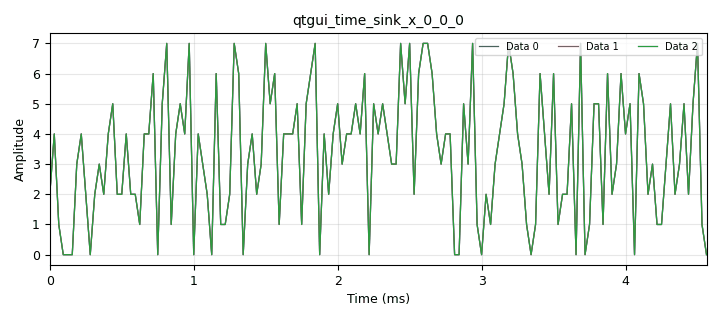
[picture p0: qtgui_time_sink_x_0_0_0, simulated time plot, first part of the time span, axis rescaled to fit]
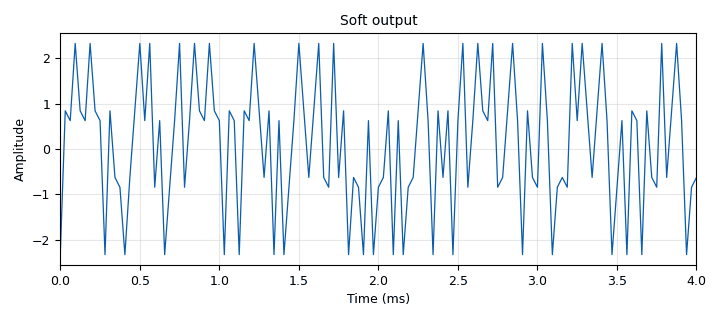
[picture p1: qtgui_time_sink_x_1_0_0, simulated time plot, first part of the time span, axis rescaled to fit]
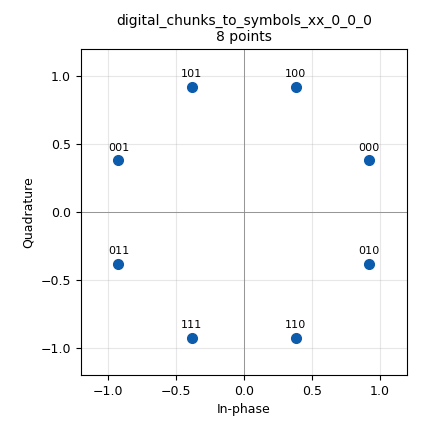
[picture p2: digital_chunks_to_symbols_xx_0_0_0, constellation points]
<?xml version='1.0' encoding='utf-8'?>
<?grc format='1' created='3.7.11'?>
<flow_graph>
<block>
<key>options</key>
<param><key>id</key><value>test_soft_decoder</value></param>
<param><key>generate_options</key><value>qt_gui</value></param>
</block>
<block>
<key>variable_constellation_rect</key>
<param><key>id</key><value>constel</value></param>
<param><key>const_points</key><value>[-1-1j, -1+1j, 1+1j, 1-1j]</value></param>
<param><key>_enabled</key><value>0</value></param>
<param><key>imag_sect</key><value>2</value></param>
<param><key>real_sect</key><value>2</value></param>
<param><key>rot_sym</key><value>4</value></param>
<param><key>sym_map</key><value>[0, 1, 3, 2]</value></param>
<param><key>w_imag_sect</key><value>1</value></param>
<param><key>w_real_sect</key><value>1</value></param>
</block>
<block>
<key>variable</key>
<param><key>id</key><value>constel</value></param>
<param><key>value</key><value>digital.constellation_8psk()</value></param>
</block>
<block>
<key>variable</key>
<param><key>id</key><value>samp_rate</value></param>
<param><key>value</key><value>32000</value></param>
</block>
<block>
<key>analog_random_source_x</key>
<param><key>id</key><value>analog_random_source_x_0</value></param>
<param><key>_enabled</key><value>0</value></param>
<param><key>max</key><value>256</value></param>
<param><key>min</key><value>0</value></param>
<param><key>num_samps</key><value>1000</value></param>
<param><key>type</key><value>byte</value></param>
<param><key>repeat</key><value>True</value></param>
</block>
<block>
<key>analog_random_source_x</key>
<param><key>id</key><value>analog_random_source_x_0_0</value></param>
<param><key>_enabled</key><value>0</value></param>
<param><key>max</key><value>256</value></param>
<param><key>min</key><value>0</value></param>
<param><key>num_samps</key><value>1000</value></param>
<param><key>type</key><value>byte</value></param>
<param><key>repeat</key><value>True</value></param>
</block>
<block>
<key>analog_random_source_x</key>
<param><key>id</key><value>analog_random_source_x_0_0_0</value></param>
<param><key>max</key><value>256</value></param>
<param><key>min</key><value>0</value></param>
<param><key>num_samps</key><value>1000</value></param>
<param><key>type</key><value>byte</value></param>
<param><key>repeat</key><value>True</value></param>
</block>
<block>
<key>blocks_char_to_float</key>
<param><key>id</key><value>blocks_char_to_float_0</value></param>
<param><key>_enabled</key><value>0</value></param>
<param><key>scale</key><value>1</value></param>
</block>
<block>
<key>blocks_char_to_float</key>
<param><key>id</key><value>blocks_char_to_float_0_0</value></param>
<param><key>_enabled</key><value>0</value></param>
<param><key>scale</key><value>1</value></param>
</block>
<block>
<key>blocks_char_to_float</key>
<param><key>id</key><value>blocks_char_to_float_0_0_0</value></param>
<param><key>_enabled</key><value>0</value></param>
<param><key>scale</key><value>1</value></param>
</block>
<block>
<key>blocks_char_to_float</key>
<param><key>id</key><value>blocks_char_to_float_0_0_0_0</value></param>
<param><key>scale</key><value>1</value></param>
</block>
<block>
<key>blocks_char_to_float</key>
<param><key>id</key><value>blocks_char_to_float_0_1</value></param>
<param><key>_enabled</key><value>0</value></param>
<param><key>scale</key><value>1</value></param>
</block>
<block>
<key>blocks_char_to_float</key>
<param><key>id</key><value>blocks_char_to_float_0_1_0</value></param>
<param><key>_enabled</key><value>0</value></param>
<param><key>scale</key><value>1</value></param>
</block>
<block>
<key>blocks_char_to_float</key>
<param><key>id</key><value>blocks_char_to_float_0_1_0_0</value></param>
<param><key>scale</key><value>1</value></param>
</block>
<block>
<key>blocks_char_to_float</key>
<param><key>id</key><value>blocks_char_to_float_0_2</value></param>
<param><key>_enabled</key><value>0</value></param>
<param><key>scale</key><value>1</value></param>
</block>
<block>
<key>blocks_char_to_float</key>
<param><key>id</key><value>blocks_char_to_float_0_2_0</value></param>
<param><key>scale</key><value>1</value></param>
</block>
<block>
<key>blocks_repack_bits_bb</key>
<param><key>id</key><value>blocks_repack_bits_bb_0</value></param>
<param><key>k</key><value>1</value></param>
<param><key>l</key><value>constel.bits_per_symbol()</value></param>
<param><key>_enabled</key><value>0</value></param>
<param><key>endianness</key><value>gr.GR_MSB_FIRST</value></param>
<param><key>align_output</key><value>True</value></param>
</block>
<block>
<key>blocks_repack_bits_bb</key>
<param><key>id</key><value>blocks_repack_bits_bb_0_0_0</value></param>
<param><key>k</key><value>1</value></param>
<param><key>l</key><value>constel.bits_per_symbol()</value></param>
<param><key>_enabled</key><value>0</value></param>
<param><key>endianness</key><value>gr.GR_MSB_FIRST</value></param>
<param><key>align_output</key><value>True</value></param>
</block>
<block>
<key>blocks_repack_bits_bb</key>
<param><key>id</key><value>blocks_repack_bits_bb_0_0_1</value></param>
<param><key>k</key><value>8</value></param>
<param><key>l</key><value>constel.bits_per_symbol()</value></param>
<param><key>_enabled</key><value>0</value></param>
<param><key>endianness</key><value>gr.GR_LSB_FIRST</value></param>
</block>
<block>
<key>blocks_repack_bits_bb</key>
<param><key>id</key><value>blocks_repack_bits_bb_0_0_1_0</value></param>
<param><key>k</key><value>8</value></param>
<param><key>l</key><value>1</value></param>
<param><key>_enabled</key><value>0</value></param>
<param><key>endianness</key><value>gr.GR_LSB_FIRST</value></param>
</block>
<block>
<key>blocks_repack_bits_bb</key>
<param><key>id</key><value>blocks_repack_bits_bb_0_0_1_0_0</value></param>
<param><key>k</key><value>8</value></param>
<param><key>l</key><value>constel.bits_per_symbol()</value></param>
<param><key>endianness</key><value>gr.GR_MSB_FIRST</value></param>
</block>
<block>
<key>blocks_repack_bits_bb</key>
<param><key>id</key><value>blocks_repack_bits_bb_0_0_2</value></param>
<param><key>k</key><value>constel.bits_per_symbol()</value></param>
<param><key>l</key><value>1</value></param>
<param><key>_enabled</key><value>0</value></param>
<param><key>endianness</key><value>gr.GR_MSB_FIRST</value></param>
<param><key>align_output</key><value>True</value></param>
</block>
<block>
<key>blocks_repack_bits_bb</key>
<param><key>id</key><value>blocks_repack_bits_bb_0_0_2_0</value></param>
<param><key>k</key><value>1</value></param>
<param><key>l</key><value>constel.bits_per_symbol()</value></param>
<param><key>endianness</key><value>gr.GR_MSB_FIRST</value></param>
<param><key>align_output</key><value>True</value></param>
</block>
<block>
<key>blocks_throttle</key>
<param><key>id</key><value>blocks_throttle_0</value></param>
<param><key>_enabled</key><value>0</value></param>
<param><key>samples_per_second</key><value>samp_rate</value></param>
<param><key>type</key><value>byte</value></param>
</block>
<block>
<key>blocks_throttle</key>
<param><key>id</key><value>blocks_throttle_0_0</value></param>
<param><key>_enabled</key><value>0</value></param>
<param><key>samples_per_second</key><value>samp_rate</value></param>
<param><key>type</key><value>byte</value></param>
</block>
<block>
<key>blocks_throttle</key>
<param><key>id</key><value>blocks_throttle_0_0_0</value></param>
<param><key>samples_per_second</key><value>samp_rate</value></param>
<param><key>type</key><value>byte</value></param>
</block>
<block>
<key>digital_binary_slicer_fb</key>
<param><key>id</key><value>digital_binary_slicer_fb_0</value></param>
<param><key>_enabled</key><value>0</value></param>
</block>
<block>
<key>digital_binary_slicer_fb</key>
<param><key>id</key><value>digital_binary_slicer_fb_0_0</value></param>
<param><key>_enabled</key><value>0</value></param>
</block>
<block>
<key>digital_binary_slicer_fb</key>
<param><key>id</key><value>digital_binary_slicer_fb_0_0_0</value></param>
</block>
<block>
<key>digital_chunks_to_symbols_xx</key>
<param><key>id</key><value>digital_chunks_to_symbols_xx_0</value></param>
<param><key>dimension</key><value>1</value></param>
<param><key>_enabled</key><value>0</value></param>
<param><key>in_type</key><value>byte</value></param>
<param><key>out_type</key><value>complex</value></param>
<param><key>symbol_table</key><value>constel.points()</value></param>
</block>
<block>
<key>digital_chunks_to_symbols_xx</key>
<param><key>id</key><value>digital_chunks_to_symbols_xx_0_0</value></param>
<param><key>dimension</key><value>1</value></param>
<param><key>_enabled</key><value>0</value></param>
<param><key>in_type</key><value>byte</value></param>
<param><key>out_type</key><value>complex</value></param>
<param><key>symbol_table</key><value>constel.points()</value></param>
</block>
<block>
<key>digital_chunks_to_symbols_xx</key>
<param><key>id</key><value>digital_chunks_to_symbols_xx_0_0_0</value></param>
<param><key>dimension</key><value>1</value></param>
<param><key>in_type</key><value>byte</value></param>
<param><key>out_type</key><value>complex</value></param>
<param><key>symbol_table</key><value>constel.points()</value></param>
</block>
<block>
<key>digital_constellation_decoder_cb</key>
<param><key>id</key><value>digital_constellation_decoder_cb_0</value></param>
<param><key>constellation</key><value>constel.base()</value></param>
<param><key>_enabled</key><value>0</value></param>
</block>
<block>
<key>digital_constellation_decoder_cb</key>
<param><key>id</key><value>digital_constellation_decoder_cb_0_0</value></param>
<param><key>constellation</key><value>constel.base()</value></param>
<param><key>_enabled</key><value>0</value></param>
</block>
<block>
<key>digital_constellation_decoder_cb</key>
<param><key>id</key><value>digital_constellation_decoder_cb_0_0_0</value></param>
<param><key>constellation</key><value>constel.base()</value></param>
</block>
<block>
<key>digital_constellation_soft_decoder_cf</key>
<param><key>id</key><value>digital_constellation_soft_decoder_cf_0</value></param>
<param><key>constellation</key><value>constel.base()</value></param>
<param><key>_enabled</key><value>0</value></param>
</block>
<block>
<key>digital_constellation_soft_decoder_cf</key>
<param><key>id</key><value>digital_constellation_soft_decoder_cf_0_0</value></param>
<param><key>constellation</key><value>constel.base()</value></param>
<param><key>_enabled</key><value>0</value></param>
</block>
<block>
<key>digital_constellation_soft_decoder_cf</key>
<param><key>id</key><value>digital_constellation_soft_decoder_cf_0_0_0</value></param>
<param><key>constellation</key><value>constel.base()</value></param>
</block>
<block>
<key>qtgui_time_sink_x</key>
<param><key>id</key><value>qtgui_time_sink_x_0</value></param>
<param><key>entags</key><value>False</value></param>
<param><key>_enabled</key><value>0</value></param>
<param><key>color1</key><value>"blue"</value></param>
<param><key>label1</key><value></value></param>
<param><key>color2</key><value>"red"</value></param>
<param><key>label2</key><value></value></param>
<param><key>color3</key><value>"green"</value></param>
<param><key>label3</key><value></value></param>
<param><key>nconnections</key><value>3</value></param>
<param><key>size</key><value>1024</value></param>
<param><key>srate</key><value>samp_rate</value></param>
<param><key>type</key><value>float</value></param>
<param><key>ymin</key><value>0</value></param>
</block>
<block>
<key>qtgui_time_sink_x</key>
<param><key>id</key><value>qtgui_time_sink_x_0_0</value></param>
<param><key>entags</key><value>False</value></param>
<param><key>_enabled</key><value>0</value></param>
<param><key>color1</key><value>"blue"</value></param>
<param><key>label1</key><value></value></param>
<param><key>color2</key><value>"red"</value></param>
<param><key>label2</key><value></value></param>
<param><key>color3</key><value>"green"</value></param>
<param><key>label3</key><value></value></param>
<param><key>nconnections</key><value>3</value></param>
<param><key>size</key><value>1024</value></param>
<param><key>srate</key><value>samp_rate</value></param>
<param><key>type</key><value>float</value></param>
<param><key>ymin</key><value>0</value></param>
</block>
<block>
<key>qtgui_time_sink_x</key>
<param><key>id</key><value>qtgui_time_sink_x_0_0_0</value></param>
<param><key>entags</key><value>False</value></param>
<param><key>color1</key><value>"blue"</value></param>
<param><key>label1</key><value></value></param>
<param><key>color2</key><value>"red"</value></param>
<param><key>label2</key><value></value></param>
<param><key>color3</key><value>"green"</value></param>
<param><key>label3</key><value></value></param>
<param><key>nconnections</key><value>3</value></param>
<param><key>size</key><value>1024</value></param>
<param><key>srate</key><value>samp_rate</value></param>
<param><key>type</key><value>float</value></param>
<param><key>ymin</key><value>0</value></param>
</block>
<block>
<key>qtgui_time_sink_x</key>
<param><key>id</key><value>qtgui_time_sink_x_1</value></param>
<param><key>_enabled</key><value>0</value></param>
<param><key>color1</key><value>"blue"</value></param>
<param><key>label1</key><value></value></param>
<param><key>name</key><value>"Soft output"</value></param>
<param><key>size</key><value>1024</value></param>
<param><key>srate</key><value>samp_rate</value></param>
<param><key>type</key><value>float</value></param>
</block>
<block>
<key>qtgui_time_sink_x</key>
<param><key>id</key><value>qtgui_time_sink_x_1_0</value></param>
<param><key>_enabled</key><value>0</value></param>
<param><key>color1</key><value>"blue"</value></param>
<param><key>label1</key><value></value></param>
<param><key>name</key><value>"Soft output"</value></param>
<param><key>size</key><value>1024</value></param>
<param><key>srate</key><value>samp_rate</value></param>
<param><key>type</key><value>float</value></param>
</block>
<block>
<key>qtgui_time_sink_x</key>
<param><key>id</key><value>qtgui_time_sink_x_1_0_0</value></param>
<param><key>color1</key><value>"blue"</value></param>
<param><key>label1</key><value></value></param>
<param><key>name</key><value>"Soft output"</value></param>
<param><key>size</key><value>1024</value></param>
<param><key>srate</key><value>samp_rate</value></param>
<param><key>type</key><value>float</value></param>
</block>
<connection><source_block_id>analog_random_source_x_0</source_block_id><sink_block_id>blocks_throttle_0</sink_block_id><source_key>0</source_key><sink_key>0</sink_key></connection>
<connection><source_block_id>analog_random_source_x_0_0</source_block_id><sink_block_id>blocks_throttle_0_0</sink_block_id><source_key>0</source_key><sink_key>0</sink_key></connection>
<connection><source_block_id>analog_random_source_x_0_0_0</source_block_id><sink_block_id>blocks_throttle_0_0_0</sink_block_id><source_key>0</source_key><sink_key>0</sink_key></connection>
<connection><source_block_id>blocks_char_to_float_0</source_block_id><sink_block_id>qtgui_time_sink_x_0</sink_block_id><source_key>0</source_key><sink_key>1</sink_key></connection>
<connection><source_block_id>blocks_char_to_float_0_0</source_block_id><sink_block_id>qtgui_time_sink_x_0</sink_block_id><source_key>0</source_key><sink_key>2</sink_key></connection>
<connection><source_block_id>blocks_char_to_float_0_0_0</source_block_id><sink_block_id>qtgui_time_sink_x_0_0</sink_block_id><source_key>0</source_key><sink_key>2</sink_key></connection>
<connection><source_block_id>blocks_char_to_float_0_0_0_0</source_block_id><sink_block_id>qtgui_time_sink_x_0_0_0</sink_block_id><source_key>0</source_key><sink_key>2</sink_key></connection>
<connection><source_block_id>blocks_char_to_float_0_1</source_block_id><sink_block_id>qtgui_time_sink_x_0</sink_block_id><source_key>0</source_key><sink_key>0</sink_key></connection>
<connection><source_block_id>blocks_char_to_float_0_1_0</source_block_id><sink_block_id>qtgui_time_sink_x_0_0</sink_block_id><source_key>0</source_key><sink_key>0</sink_key></connection>
<connection><source_block_id>blocks_char_to_float_0_1_0_0</source_block_id><sink_block_id>qtgui_time_sink_x_0_0_0</sink_block_id><source_key>0</source_key><sink_key>0</sink_key></connection>
<connection><source_block_id>blocks_char_to_float_0_2</source_block_id><sink_block_id>qtgui_time_sink_x_0_0</sink_block_id><source_key>0</source_key><sink_key>1</sink_key></connection>
<connection><source_block_id>blocks_char_to_float_0_2_0</source_block_id><sink_block_id>qtgui_time_sink_x_0_0_0</sink_block_id><source_key>0</source_key><sink_key>1</sink_key></connection>
<connection><source_block_id>blocks_repack_bits_bb_0</source_block_id><sink_block_id>blocks_char_to_float_0_0</sink_block_id><source_key>0</source_key><sink_key>0</sink_key></connection>
<connection><source_block_id>blocks_repack_bits_bb_0_0_0</source_block_id><sink_block_id>digital_chunks_to_symbols_xx_0_0</sink_block_id><source_key>0</source_key><sink_key>0</sink_key></connection>
<connection><source_block_id>blocks_repack_bits_bb_0_0_1</source_block_id><sink_block_id>blocks_char_to_float_0_1</sink_block_id><source_key>0</source_key><sink_key>0</sink_key></connection>
<connection><source_block_id>blocks_repack_bits_bb_0_0_1</source_block_id><sink_block_id>digital_chunks_to_symbols_xx_0</sink_block_id><source_key>0</source_key><sink_key>0</sink_key></connection>
<connection><source_block_id>blocks_repack_bits_bb_0_0_1_0</source_block_id><sink_block_id>blocks_char_to_float_0_1_0</sink_block_id><source_key>0</source_key><sink_key>0</sink_key></connection>
<connection><source_block_id>blocks_repack_bits_bb_0_0_1_0</source_block_id><sink_block_id>blocks_repack_bits_bb_0_0_0</sink_block_id><source_key>0</source_key><sink_key>0</sink_key></connection>
<connection><source_block_id>blocks_repack_bits_bb_0_0_1_0_0</source_block_id><sink_block_id>blocks_char_to_float_0_1_0_0</sink_block_id><source_key>0</source_key><sink_key>0</sink_key></connection>
<connection><source_block_id>blocks_repack_bits_bb_0_0_1_0_0</source_block_id><sink_block_id>digital_chunks_to_symbols_xx_0_0_0</sink_block_id><source_key>0</source_key><sink_key>0</sink_key></connection>
<connection><source_block_id>blocks_repack_bits_bb_0_0_2</source_block_id><sink_block_id>blocks_char_to_float_0_2</sink_block_id><source_key>0</source_key><sink_key>0</sink_key></connection>
<connection><source_block_id>blocks_repack_bits_bb_0_0_2_0</source_block_id><sink_block_id>blocks_char_to_float_0_0_0_0</sink_block_id><source_key>0</source_key><sink_key>0</sink_key></connection>
<connection><source_block_id>blocks_throttle_0</source_block_id><sink_block_id>blocks_repack_bits_bb_0_0_1</sink_block_id><source_key>0</source_key><sink_key>0</sink_key></connection>
<connection><source_block_id>blocks_throttle_0_0</source_block_id><sink_block_id>blocks_repack_bits_bb_0_0_1_0</sink_block_id><source_key>0</source_key><sink_key>0</sink_key></connection>
<connection><source_block_id>blocks_throttle_0_0_0</source_block_id><sink_block_id>blocks_repack_bits_bb_0_0_1_0_0</sink_block_id><source_key>0</source_key><sink_key>0</sink_key></connection>
<connection><source_block_id>digital_binary_slicer_fb_0</source_block_id><sink_block_id>blocks_repack_bits_bb_0</sink_block_id><source_key>0</source_key><sink_key>0</sink_key></connection>
<connection><source_block_id>digital_binary_slicer_fb_0_0</source_block_id><sink_block_id>blocks_char_to_float_0_0_0</sink_block_id><source_key>0</source_key><sink_key>0</sink_key></connection>
<connection><source_block_id>digital_binary_slicer_fb_0_0_0</source_block_id><sink_block_id>blocks_repack_bits_bb_0_0_2_0</sink_block_id><source_key>0</source_key><sink_key>0</sink_key></connection>
<connection><source_block_id>digital_chunks_to_symbols_xx_0</source_block_id><sink_block_id>digital_constellation_decoder_cb_0</sink_block_id><source_key>0</source_key><sink_key>0</sink_key></connection>
<connection><source_block_id>digital_chunks_to_symbols_xx_0</source_block_id><sink_block_id>digital_constellation_soft_decoder_cf_0</sink_block_id><source_key>0</source_key><sink_key>0</sink_key></connection>
<connection><source_block_id>digital_chunks_to_symbols_xx_0_0</source_block_id><sink_block_id>digital_constellation_decoder_cb_0_0</sink_block_id><source_key>0</source_key><sink_key>0</sink_key></connection>
<connection><source_block_id>digital_chunks_to_symbols_xx_0_0</source_block_id><sink_block_id>digital_constellation_soft_decoder_cf_0_0</sink_block_id><source_key>0</source_key><sink_key>0</sink_key></connection>
<connection><source_block_id>digital_chunks_to_symbols_xx_0_0_0</source_block_id><sink_block_id>digital_constellation_decoder_cb_0_0_0</sink_block_id><source_key>0</source_key><sink_key>0</sink_key></connection>
<connection><source_block_id>digital_chunks_to_symbols_xx_0_0_0</source_block_id><sink_block_id>digital_constellation_soft_decoder_cf_0_0_0</sink_block_id><source_key>0</source_key><sink_key>0</sink_key></connection>
<connection><source_block_id>digital_constellation_decoder_cb_0</source_block_id><sink_block_id>blocks_char_to_float_0</sink_block_id><source_key>0</source_key><sink_key>0</sink_key></connection>
<connection><source_block_id>digital_constellation_decoder_cb_0_0</source_block_id><sink_block_id>blocks_repack_bits_bb_0_0_2</sink_block_id><source_key>0</source_key><sink_key>0</sink_key></connection>
<connection><source_block_id>digital_constellation_decoder_cb_0_0_0</source_block_id><sink_block_id>blocks_char_to_float_0_2_0</sink_block_id><source_key>0</source_key><sink_key>0</sink_key></connection>
<connection><source_block_id>digital_constellation_soft_decoder_cf_0</source_block_id><sink_block_id>digital_binary_slicer_fb_0</sink_block_id><source_key>0</source_key><sink_key>0</sink_key></connection>
<connection><source_block_id>digital_constellation_soft_decoder_cf_0</source_block_id><sink_block_id>qtgui_time_sink_x_1</sink_block_id><source_key>0</source_key><sink_key>0</sink_key></connection>
<connection><source_block_id>digital_constellation_soft_decoder_cf_0_0</source_block_id><sink_block_id>digital_binary_slicer_fb_0_0</sink_block_id><source_key>0</source_key><sink_key>0</sink_key></connection>
<connection><source_block_id>digital_constellation_soft_decoder_cf_0_0</source_block_id><sink_block_id>qtgui_time_sink_x_1_0</sink_block_id><source_key>0</source_key><sink_key>0</sink_key></connection>
<connection><source_block_id>digital_constellation_soft_decoder_cf_0_0_0</source_block_id><sink_block_id>digital_binary_slicer_fb_0_0_0</sink_block_id><source_key>0</source_key><sink_key>0</sink_key></connection>
<connection><source_block_id>digital_constellation_soft_decoder_cf_0_0_0</source_block_id><sink_block_id>qtgui_time_sink_x_1_0_0</sink_block_id><source_key>0</source_key><sink_key>0</sink_key></connection>
</flow_graph>
